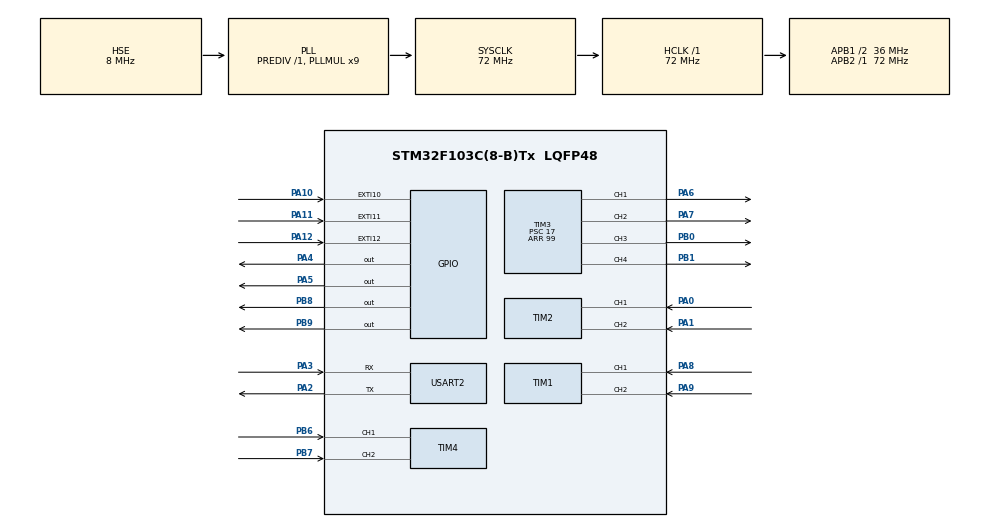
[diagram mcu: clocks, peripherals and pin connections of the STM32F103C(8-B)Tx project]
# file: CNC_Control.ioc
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Mcu.Family=STM32F1
Mcu.Name=STM32F103C(8-B)Tx
Mcu.Package=LQFP48
NVIC.EXTI15_10_IRQn=true\:0\:0\:false\:false\:true\:true\:true
NVIC.PriorityGroup=NVIC_PRIORITYGROUP_4
NVIC.USART2_IRQn=true\:0\:0\:false\:false\:true\:true\:true
PA0-WKUP.Signal=S_TIM2_CH1_ETR
PA1.Signal=S_TIM2_CH2
PA10.GPIO_ModeDefaultEXTI=GPIO_MODE_IT_FALLING
PA10.Signal=GPXTI10
PA11.GPIO_ModeDefaultEXTI=GPIO_MODE_IT_FALLING
PA11.Signal=GPXTI11
PA12.GPIO_ModeDefaultEXTI=GPIO_MODE_IT_FALLING
PA12.Signal=GPXTI12
PA13.Mode=Serial_Wire
PA13.Signal=SYS_JTMS-SWDIO
PA14.Mode=Serial_Wire
PA14.Signal=SYS_JTCK-SWCLK
PA2.Mode=Asynchronous
PA2.Signal=USART2_TX
PA3.Mode=Asynchronous
PA3.Signal=USART2_RX
PA4.Signal=GPIO_Output
PA5.Signal=GPIO_Output
PA6.Signal=S_TIM3_CH1
PA7.Signal=S_TIM3_CH2
PA8.Signal=S_TIM1_CH1
PA9.Signal=S_TIM1_CH2
PB0.Signal=S_TIM3_CH3
PB1.Signal=S_TIM3_CH4
PB6.Signal=S_TIM4_CH1
PB7.Signal=S_TIM4_CH2
PB8.Signal=GPIO_Output
PB9.Signal=GPIO_Output
PD0-OSC_IN.Mode=HSE-External-Oscillator
PD0-OSC_IN.Signal=RCC_OSC_IN
PD1-OSC_OUT.Mode=HSE-External-Oscillator
PD1-OSC_OUT.Signal=RCC_OSC_OUT
ProjectManager.HeapSize=0x200
ProjectManager.StackSize=0x400
ProjectManager.TargetToolchain=Makefile
RCC.AHBFreq_Value=72000000
RCC.APB1CLKDivider=RCC_HCLK_DIV2
RCC.APB1Freq_Value=36000000
RCC.APB1TimFreq_Value=72000000
RCC.APB2Freq_Value=72000000
RCC.APB2TimFreq_Value=72000000
RCC.HCLKFreq_Value=72000000
RCC.PLLMUL=RCC_PLL_MUL9
RCC.PLLSourceVirtual=RCC_PLLSOURCE_HSE
RCC.SYSCLKFreq_VALUE=72000000
RCC.SYSCLKSource=RCC_SYSCLKSOURCE_PLLCLK
RCC.USBFreq_Value=72000000
SH.S_TIM1_CH1.0=TIM1_CH1,Encoder_Interface
SH.S_TIM1_CH2.0=TIM1_CH2,Encoder_Interface
SH.S_TIM2_CH1_ETR.0=TIM2_CH1,Encoder_Interface
SH.S_TIM2_CH2.0=TIM2_CH2,Encoder_Interface
SH.S_TIM3_CH1.0=TIM3_CH1,PWM Generation1 CH1
SH.S_TIM3_CH2.0=TIM3_CH2,PWM Generation2 CH2
SH.S_TIM3_CH3.0=TIM3_CH3,PWM Generation3 CH3
SH.S_TIM3_CH4.0=TIM3_CH4,PWM Generation4 CH4
SH.S_TIM4_CH1.0=TIM4_CH1,Encoder_Interface
SH.S_TIM4_CH2.0=TIM4_CH2,Encoder_Interface
TIM1.EncoderMode=TIM_ENCODERMODE_TI12
TIM2.EncoderMode=TIM_ENCODERMODE_TI12
TIM3.Channel-PWM\ Generation1\ CH1=TIM_CHANNEL_1
TIM3.Channel-PWM\ Generation2\ CH2=TIM_CHANNEL_2
TIM3.Channel-PWM\ Generation3\ CH3=TIM_CHANNEL_3
TIM3.Channel-PWM\ Generation4\ CH4=TIM_CHANNEL_4
TIM3.Period=99
TIM3.Prescaler=17
TIM4.EncoderMode=TIM_ENCODERMODE_TI12
USART2.VirtualMode=VM_ASYNC
VP_TIM3_VS_ClockSourceINT.Mode=Internal
board=custom

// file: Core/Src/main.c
/* USER CODE BEGIN Header */
/**
  ******************************************************************************
  * @file           : main.c
  * @brief          : Main program body
  ******************************************************************************
  * @attention
  *
  * Copyright (c) 2023 STMicroelectronics.
  * All rights reserved.
  *
  * This software is licensed under terms that can be found in the LICENSE file
  * in the root directory of this software component.
  * If no LICENSE file comes with this software, it is provided AS-IS.
  *
  ******************************************************************************
  */
/* USER CODE END Header */
#include "main.h"

/* USER CODE BEGIN Includes */
#include "MotorControl.h"
/* USER CODE END Includes */

TIM_HandleTypeDef htim1;
TIM_HandleTypeDef htim2;
TIM_HandleTypeDef htim3;
TIM_HandleTypeDef htim4;

UART_HandleTypeDef huart2;

/* USER CODE BEGIN PV */

CNC cnc;

/* USER CODE END PV */

void SystemClock_Config(void);
static void MX_GPIO_Init(void);
static void MX_TIM1_Init(void);
static void MX_TIM2_Init(void);
static void MX_TIM3_Init(void);
static void MX_TIM4_Init(void);
static void MX_USART2_UART_Init(void);

/* USER CODE BEGIN 0 */
void uart_clear_receive_buffer_and_start_receive_IT()
{
    // Đọc dữ liệu trong bộ nhận cho đến khi không còn dữ liệu trong buffer
    while (__HAL_UART_GET_FLAG(&huart2, UART_FLAG_RXNE)) {
        char dummy_data = huart2.Instance->DR; // Đọc dữ liệu từ thanh ghi RDR để xóa dữ liệu trong bộ nhận
    }
    cnc.data.index = 0;
    HAL_UART_Receive_IT(&huart2, &cnc.data.Receive, 1);
}

void HAL_GPIO_EXTI_Callback(uint16_t GPIO_Pin)
{
  UNUSED(GPIO_Pin);
	// X Home
	if( GPIO_Pin == cnc.x_axis.PIN_HOME)
	{
		cnc.x_axis.pwm = 0;
		PWM(&cnc.x_axis);
		cnc.x_axis.home = true;
	}
	// Y Home
	if( GPIO_Pin == cnc.y_axis.PIN_HOME)
	{
		cnc.y_axis.pwm = 0;
		PWM(&cnc.y_axis);
		cnc.y_axis.home = true;
	}
	// Z Home
	if( GPIO_Pin == cnc.z_axis.PIN_HOME)
	{
		cnc.z_axis.pwm = 0;
		PWM(&cnc.z_axis);
		cnc.z_axis.home = true;
	}
}

void HAL_UART_RxCpltCallback(UART_HandleTypeDef *huart)
{
  UNUSED(huart);
	if(huart->Instance == huart2.Instance)
	{
		if((cnc.data.Receive != '!') && (cnc.data.Receive != 0)) //line feed Ascii
		{
			cnc.data.ReceiveBuff[cnc.data.index++] = cnc.data.Receive; //Save data in Rxbuff
		}
		else if (cnc.data.Receive == '!')
		{
			cnc.data.index = 0;
			//ProcessData(&cnc);
      cnc.Mode = 6; //process data
      //return;
		}
		HAL_UART_Receive_IT(&huart2, &cnc.data.Receive, 1);
	}
}

void axisInit()
{
	cnc.x_axis.htim_motor = &htim3;
	cnc.y_axis.htim_motor = &htim3;
	cnc.z_axis.htim_motor = &htim3;
  cnc.drill.htim_motor = &htim3;

	// cnc.x_axis.htim_enc = &htim4;
	// cnc.y_axis.htim_enc = &htim2;
	// cnc.z_axis.htim_enc = &htim1;

  cnc.x_axis.enc = &htim4.Instance->CNT;
  cnc.y_axis.enc = &htim2.Instance->CNT;
  cnc.z_axis.enc = &htim1.Instance->CNT;

	cnc.x_axis.GPIO_DIR = GPIOB;
	cnc.y_axis.GPIO_DIR = GPIOB;
	cnc.z_axis.GPIO_DIR = GPIOA;
  cnc.drill.GPIO_DIR = GPIOA;

	cnc.x_axis.PIN_DIR = GPIO_PIN_8;
	cnc.y_axis.PIN_DIR = GPIO_PIN_9;
	cnc.z_axis.PIN_DIR = GPIO_PIN_5;
  cnc.drill.PIN_DIR = GPIO_PIN_4;

	cnc.x_axis.CHANNEL = TIM_CHANNEL_3;
	cnc.y_axis.CHANNEL = TIM_CHANNEL_4;
	cnc.z_axis.CHANNEL = TIM_CHANNEL_2;
  cnc.drill.CHANNEL = TIM_CHANNEL_1;

	cnc.x_axis.GPIO_HOME = GPIOA;
	cnc.y_axis.GPIO_HOME = GPIOA;
	cnc.z_axis.GPIO_HOME = GPIOA;

	cnc.x_axis.PIN_HOME = GPIO_PIN_12;
	cnc.y_axis.PIN_HOME = GPIO_PIN_11;
	cnc.z_axis.PIN_HOME = GPIO_PIN_10;

	cnc.x_axis.Kp = 5;
	cnc.y_axis.Kp = 10;
	cnc.z_axis.Kp = 5;

	cnc.x_axis.Ki = 0.0001;
	cnc.y_axis.Ki = 0.0001;
	cnc.z_axis.Ki = 0.0001;

	cnc.x_axis.Kd = 0.2;
	cnc.y_axis.Kd = 0.3;
	cnc.z_axis.Kd = 0.1;

	cnc.x_axis.mm_pulse = 249.8886;//142.8571;
	cnc.y_axis.mm_pulse = 495.1475;//333.3333;
	cnc.z_axis.mm_pulse = 500;

  cnc.x_axis.ERROR = 2;
  cnc.y_axis.ERROR = 2;
  cnc.z_axis.ERROR = 1;

  cnc.x_axis.speed = 35;
  cnc.y_axis.speed = 40;
  cnc.z_axis.speed = 40;

  cnc.z_max = Z_MAX;
  cnc.step = STEP;
  cnc.thickness = 1;
  cnc.speed = MAX_SPEED;
}
/* USER CODE END 0 */

int main(void)
{

  /* MCU Configuration--------------------------------------------------------*/

  /* Reset of all peripherals, Initializes the Flash interface and the Systick. */
  HAL_Init();

  /* Configure the system clock */
  SystemClock_Config();

  /* Initialize all configured peripherals */
  MX_GPIO_Init();
  MX_TIM1_Init();
  MX_TIM2_Init();
  MX_TIM3_Init();
  MX_TIM4_Init();
  MX_USART2_UART_Init();
  /* USER CODE BEGIN 2 */
  HAL_UART_Receive_IT(&huart2, &cnc.data.Receive, 1);

  // Init axis
	axisInit();

  // Start PWM
	HAL_TIM_PWM_Start(&htim3, TIM_CHANNEL_1);
  HAL_TIM_PWM_Start(&htim3, TIM_CHANNEL_2);
  HAL_TIM_PWM_Start(&htim3, TIM_CHANNEL_3);
  HAL_TIM_PWM_Start(&htim3, TIM_CHANNEL_4);

	// Start Encoder
	HAL_TIM_Encoder_Start(&htim1, TIM_CHANNEL_1 | TIM_CHANNEL_2);
	HAL_TIM_Encoder_Start(&htim2, TIM_CHANNEL_1 | TIM_CHANNEL_2);
	HAL_TIM_Encoder_Start(&htim4, TIM_CHANNEL_1 | TIM_CHANNEL_2);

  /* USER CODE END 2 */

  /* Infinite loop */
  /* USER CODE BEGIN WHILE */
  while (1)
  {
    switch (cnc.Mode)
    {
    case 1: // mode Home

      // goto x home
			HOME(&cnc.x_axis);

			// goto y home
			HOME(&cnc.y_axis);

			// goto z home
			HOME(&cnc.z_axis);

      //test drill
      //runDrill(&cnc.drill, 70);

			if(cnc.x_axis.home && cnc.y_axis.home && cnc.z_axis.home)
			{
			  // cnc.x_axis.htim_enc->Instance->CNT = 0;
				// cnc.y_axis.htim_enc->Instance->CNT = 0;
				// cnc.z_axis.htim_enc->Instance->CNT = 0;

        *cnc.x_axis.enc = 0;
        *cnc.y_axis.enc = 0;
        *cnc.z_axis.enc = 0;

				cnc.x_axis.pos = 0;
				cnc.y_axis.pos = 0;
				cnc.z_axis.pos = 0;

			  cnc.Mode = 2; // to protect switch, goto home 1cm mode
			}

      break;

    case 2: // mode Home 1cm
      move(&cnc.x_axis, 10);
			move(&cnc.y_axis, 10);
			move(&cnc.z_axis, 10);
			if( cnc.x_axis.finish && cnc.y_axis.finish && cnc.z_axis.finish)
			{
				cnc.x_axis.finish = false;
				cnc.y_axis.finish = false;
				cnc.z_axis.finish = false;

				// cnc.x_axis.htim_enc->Instance->CNT = 0;
				// cnc.y_axis.htim_enc->Instance->CNT = 0;
				// cnc.z_axis.htim_enc->Instance->CNT = 0;

        *cnc.x_axis.enc = 0;
        *cnc.y_axis.enc = 0;
        *cnc.z_axis.enc = 0;

				cnc.x_axis.pos = 0;
				cnc.y_axis.pos = 0;
				cnc.z_axis.pos = 0;
        memset(cnc.data.TransBuff, 0, sizeof(cnc.data.TransBuff));
        sprintf(cnc.data.TransBuff, "H!");
        HAL_UART_Transmit(&huart2, cnc.data.TransBuff, 2, 100);
        cnc.data.index = 0;
				cnc.Mode = 0;
        //uart_clear_receive_buffer_and_start_receive_IT();
			}
      break;

    case 3:
      if(cnc.drill.enb)
      {
        runDrill(&cnc.drill, 100);
        while(!cnc.z_axis.finish)
				{
					move(&cnc.z_axis, cnc.z_axis.next);
				}
				cnc.z_axis.finish = false;
      }
      else
      {
        while(!cnc.z_axis.finish)
				{
					move(&cnc.z_axis, cnc.z_axis.next);
				}
				cnc.z_axis.finish = false;
        runDrill(&cnc.drill, 0);
      }
      cnc.Mode = 7;
      break;
    /*case 3: // check drill
      if(cnc.drill.status != cnc.drill.enb)
			{
				if(cnc.drill.enb){
          cnc.z_axis.next = cnc.z_max - cnc.thickness;
          runDrill(&cnc.drill, 90);
        }
				else
					cnc.z_axis.next = 0;
				while(!cnc.z_axis.finish)
				{
					move(&cnc.z_axis, cnc.z_axis.next);
				}
				cnc.z_axis.finish = false;
				cnc.drill.status = cnc.drill.enb;
			}
      if(cnc.drill.enb)
        cnc.Mode = 5; // mode G01
      else
      {
        cnc.Mode = 4; // mode G00
        runDrill(&cnc.drill, 0);
      }
      break;*/

    case 4: // mode G00
      while(!(cnc.x_axis.finish && cnc.y_axis.finish))
			{
				move(&cnc.x_axis, cnc.x_axis.next);
				move(&cnc.y_axis, cnc.y_axis.next);
			}
			cnc.x_axis.finish = false;
			cnc.y_axis.finish = false;
      cnc.x_axis.last = cnc.x_axis.pos / cnc.x_axis.mm_pulse;
      cnc.y_axis.last = cnc.y_axis.pos / cnc.y_axis.mm_pulse;
      // cnc.x_axis.last = cnc.x_axis.next;
      // cnc.y_axis.last = cnc.y_axis.next;
      // cnc.x_axis.feedback = cnc.y_axis.pos / cnc.x_axis.mm_pulse;
      // cnc.y_axis.feedback = cnc.y_axis.pos / cnc.y_axis.mm_pulse;
      cnc.Mode = 7; // mode send feedback
      break;

    case 5: // mode G01
      drawLine(&cnc.x_axis, &cnc.y_axis);
      // cnc.x_axis.feedback = cnc.y_axis.pos / cnc.x_axis.mm_pulse;
      // cnc.y_axis.feedback = cnc.y_axis.pos / cnc.y_axis.mm_pulse;
      cnc.Mode = 7; // mode send feedback
      break;

    case 6: // mode process data
      ProcessData(&cnc);
      break;

    case 7: // send feedback to main
      memset(cnc.data.TransBuff, 0, sizeof(cnc.data.TransBuff));
      sprintf(cnc.data.TransBuff, "G0%uX%0.2fY%0.2f!", cnc.drill.enb, cnc.x_axis.last, cnc.y_axis.last);
      HAL_Delay(300);
      HAL_UART_Transmit(&huart2, cnc.data.TransBuff, sizeof(cnc.data.TransBuff), 100);
      cnc.Mode = 0;
      break;
    case 8: // send respond for setting
      memset(cnc.data.TransBuff, 0, sizeof(cnc.data.TransBuff));
      sprintf(cnc.data.TransBuff, "S!");
      HAL_Delay(120);
      HAL_UART_Transmit(&huart2, cnc.data.TransBuff, 2, 100);
      cnc.Mode = 0;
      break;
    case 9: // stop
      while(!cnc.z_axis.finish)
      {
        move(&cnc.z_axis, 0);
      }
      cnc.z_axis.finish = false;
      runDrill(&cnc.drill, 0);
      cnc.Mode = 0; // mode home
      break;
    case 10: // z edit
      while(!cnc.z_axis.finish)
      {
        move(&cnc.z_axis, cnc.z_axis.next);
      }
      cnc.z_axis.finish = false;
      memset(cnc.data.TransBuff, 0, sizeof(cnc.data.TransBuff));
      sprintf(cnc.data.TransBuff, "Z!");
      HAL_Delay(120);
      HAL_UART_Transmit(&huart2, cnc.data.TransBuff, 2, 100);
      cnc.Mode = 0;
      break;
    default:
      break;
    }
    /* USER CODE END WHILE */

  }
}

void SystemClock_Config(void)
{
  RCC_OscInitTypeDef RCC_OscInitStruct = {0};
  RCC_ClkInitTypeDef RCC_ClkInitStruct = {0};

  /** Initializes the RCC Oscillators according to the specified parameters
  * in the RCC_OscInitTypeDef structure.
  */
  RCC_OscInitStruct.OscillatorType = RCC_OSCILLATORTYPE_HSE;
  RCC_OscInitStruct.HSEState = RCC_HSE_ON;
  RCC_OscInitStruct.HSEPredivValue = RCC_HSE_PREDIV_DIV1;
  RCC_OscInitStruct.HSIState = RCC_HSI_ON;
  RCC_OscInitStruct.PLL.PLLState = RCC_PLL_ON;
  RCC_OscInitStruct.PLL.PLLSource = RCC_PLLSOURCE_HSE;
  RCC_OscInitStruct.PLL.PLLMUL = RCC_PLL_MUL9;
  if (HAL_RCC_OscConfig(&RCC_OscInitStruct) != HAL_OK)
  {
    Error_Handler();
  }
  /** Initializes the CPU, AHB and APB buses clocks
  */
  RCC_ClkInitStruct.ClockType = RCC_CLOCKTYPE_HCLK|RCC_CLOCKTYPE_SYSCLK
                              |RCC_CLOCKTYPE_PCLK1|RCC_CLOCKTYPE_PCLK2;
  RCC_ClkInitStruct.SYSCLKSource = RCC_SYSCLKSOURCE_PLLCLK;
  RCC_ClkInitStruct.AHBCLKDivider = RCC_SYSCLK_DIV1;
  RCC_ClkInitStruct.APB1CLKDivider = RCC_HCLK_DIV2;
  RCC_ClkInitStruct.APB2CLKDivider = RCC_HCLK_DIV1;

  if (HAL_RCC_ClockConfig(&RCC_ClkInitStruct, FLASH_LATENCY_2) != HAL_OK)
  {
    Error_Handler();
  }
}

static void MX_TIM1_Init(void)
{

  TIM_Encoder_InitTypeDef sConfig = {0};
  TIM_MasterConfigTypeDef sMasterConfig = {0};

  htim1.Instance = TIM1;
  htim1.Init.Prescaler = 0;
  htim1.Init.CounterMode = TIM_COUNTERMODE_UP;
  htim1.Init.Period = 65535;
  htim1.Init.ClockDivision = TIM_CLOCKDIVISION_DIV1;
  htim1.Init.RepetitionCounter = 0;
  htim1.Init.AutoReloadPreload = TIM_AUTORELOAD_PRELOAD_DISABLE;
  sConfig.EncoderMode = TIM_ENCODERMODE_TI12;
  sConfig.IC1Polarity = TIM_ICPOLARITY_RISING;
  sConfig.IC1Selection = TIM_ICSELECTION_DIRECTTI;
  sConfig.IC1Prescaler = TIM_ICPSC_DIV1;
  sConfig.IC1Filter = 0;
  sConfig.IC2Polarity = TIM_ICPOLARITY_RISING;
  sConfig.IC2Selection = TIM_ICSELECTION_DIRECTTI;
  sConfig.IC2Prescaler = TIM_ICPSC_DIV1;
  sConfig.IC2Filter = 0;
  if (HAL_TIM_Encoder_Init(&htim1, &sConfig) != HAL_OK)
  {
    Error_Handler();
  }
  sMasterConfig.MasterOutputTrigger = TIM_TRGO_RESET;
  sMasterConfig.MasterSlaveMode = TIM_MASTERSLAVEMODE_DISABLE;
  if (HAL_TIMEx_MasterConfigSynchronization(&htim1, &sMasterConfig) != HAL_OK)
  {
    Error_Handler();
  }

}

static void MX_TIM2_Init(void)
{

  TIM_Encoder_InitTypeDef sConfig = {0};
  TIM_MasterConfigTypeDef sMasterConfig = {0};

  htim2.Instance = TIM2;
  htim2.Init.Prescaler = 0;
  htim2.Init.CounterMode = TIM_COUNTERMODE_UP;
  htim2.Init.Period = 65535;
  htim2.Init.ClockDivision = TIM_CLOCKDIVISION_DIV1;
  htim2.Init.AutoReloadPreload = TIM_AUTORELOAD_PRELOAD_DISABLE;
  sConfig.EncoderMode = TIM_ENCODERMODE_TI12;
  sConfig.IC1Polarity = TIM_ICPOLARITY_RISING;
  sConfig.IC1Selection = TIM_ICSELECTION_DIRECTTI;
  sConfig.IC1Prescaler = TIM_ICPSC_DIV1;
  sConfig.IC1Filter = 0;
  sConfig.IC2Polarity = TIM_ICPOLARITY_RISING;
  sConfig.IC2Selection = TIM_ICSELECTION_DIRECTTI;
  sConfig.IC2Prescaler = TIM_ICPSC_DIV1;
  sConfig.IC2Filter = 0;
  if (HAL_TIM_Encoder_Init(&htim2, &sConfig) != HAL_OK)
  {
    Error_Handler();
  }
  sMasterConfig.MasterOutputTrigger = TIM_TRGO_RESET;
  sMasterConfig.MasterSlaveMode = TIM_MASTERSLAVEMODE_DISABLE;
  if (HAL_TIMEx_MasterConfigSynchronization(&htim2, &sMasterConfig) != HAL_OK)
  {
    Error_Handler();
  }

}

static void MX_TIM3_Init(void)
{

  TIM_ClockConfigTypeDef sClockSourceConfig = {0};
  TIM_MasterConfigTypeDef sMasterConfig = {0};
  TIM_OC_InitTypeDef sConfigOC = {0};

  htim3.Instance = TIM3;
  htim3.Init.Prescaler = 29;
  htim3.Init.CounterMode = TIM_COUNTERMODE_UP;
  htim3.Init.Period = 99;
  htim3.Init.ClockDivision = TIM_CLOCKDIVISION_DIV1;
  htim3.Init.AutoReloadPreload = TIM_AUTORELOAD_PRELOAD_DISABLE;
  if (HAL_TIM_Base_Init(&htim3) != HAL_OK)
  {
    Error_Handler();
  }
  sClockSourceConfig.ClockSource = TIM_CLOCKSOURCE_INTERNAL;
  if (HAL_TIM_ConfigClockSource(&htim3, &sClockSourceConfig) != HAL_OK)
  {
    Error_Handler();
  }
  if (HAL_TIM_PWM_Init(&htim3) != HAL_OK)
  {
    Error_Handler();
  }
  sMasterConfig.MasterOutputTrigger = TIM_TRGO_RESET;
  sMasterConfig.MasterSlaveMode = TIM_MASTERSLAVEMODE_DISABLE;
  if (HAL_TIMEx_MasterConfigSynchronization(&htim3, &sMasterConfig) != HAL_OK)
  {
    Error_Handler();
  }
  sConfigOC.OCMode = TIM_OCMODE_PWM1;
  sConfigOC.Pulse = 0;
  sConfigOC.OCPolarity = TIM_OCPOLARITY_HIGH;
  sConfigOC.OCFastMode = TIM_OCFAST_DISABLE;
  if (HAL_TIM_PWM_ConfigChannel(&htim3, &sConfigOC, TIM_CHANNEL_1) != HAL_OK)
  {
    Error_Handler();
  }
  if (HAL_TIM_PWM_ConfigChannel(&htim3, &sConfigOC, TIM_CHANNEL_2) != HAL_OK)
  {
    Error_Handler();
  }
  if (HAL_TIM_PWM_ConfigChannel(&htim3, &sConfigOC, TIM_CHANNEL_3) != HAL_OK)
  {
    Error_Handler();
  }
  if (HAL_TIM_PWM_ConfigChannel(&htim3, &sConfigOC, TIM_CHANNEL_4) != HAL_OK)
  {
    Error_Handler();
  }
  HAL_TIM_MspPostInit(&htim3);

}

static void MX_TIM4_Init(void)
{

  TIM_Encoder_InitTypeDef sConfig = {0};
  TIM_MasterConfigTypeDef sMasterConfig = {0};

  htim4.Instance = TIM4;
  htim4.Init.Prescaler = 0;
  htim4.Init.CounterMode = TIM_COUNTERMODE_UP;
  htim4.Init.Period = 65535;
  htim4.Init.ClockDivision = TIM_CLOCKDIVISION_DIV1;
  htim4.Init.AutoReloadPreload = TIM_AUTORELOAD_PRELOAD_DISABLE;
  sConfig.EncoderMode = TIM_ENCODERMODE_TI12;
  sConfig.IC1Polarity = TIM_ICPOLARITY_RISING;
  sConfig.IC1Selection = TIM_ICSELECTION_DIRECTTI;
  sConfig.IC1Prescaler = TIM_ICPSC_DIV1;
  sConfig.IC1Filter = 0;
  sConfig.IC2Polarity = TIM_ICPOLARITY_RISING;
  sConfig.IC2Selection = TIM_ICSELECTION_DIRECTTI;
  sConfig.IC2Prescaler = TIM_ICPSC_DIV1;
  sConfig.IC2Filter = 0;
  if (HAL_TIM_Encoder_Init(&htim4, &sConfig) != HAL_OK)
  {
    Error_Handler();
  }
  sMasterConfig.MasterOutputTrigger = TIM_TRGO_RESET;
  sMasterConfig.MasterSlaveMode = TIM_MASTERSLAVEMODE_DISABLE;
  if (HAL_TIMEx_MasterConfigSynchronization(&htim4, &sMasterConfig) != HAL_OK)
  {
    Error_Handler();
  }

}

static void MX_USART2_UART_Init(void)
{

  huart2.Instance = USART2;
  huart2.Init.BaudRate = 115200;
  huart2.Init.WordLength = UART_WORDLENGTH_8B;
  huart2.Init.StopBits = UART_STOPBITS_1;
  huart2.Init.Parity = UART_PARITY_NONE;
  huart2.Init.Mode = UART_MODE_TX_RX;
  huart2.Init.HwFlowCtl = UART_HWCONTROL_NONE;
  huart2.Init.OverSampling = UART_OVERSAMPLING_16;
  if (HAL_UART_Init(&huart2) != HAL_OK)
  {
    Error_Handler();
  }

}

static void MX_GPIO_Init(void)
{
  GPIO_InitTypeDef GPIO_InitStruct = {0};

  /* GPIO Ports Clock Enable */
  __HAL_RCC_GPIOD_CLK_ENABLE();
  __HAL_RCC_GPIOA_CLK_ENABLE();
  __HAL_RCC_GPIOB_CLK_ENABLE();

  /*Configure GPIO pin Output Level */
  HAL_GPIO_WritePin(GPIOA, GPIO_PIN_4|GPIO_PIN_5, GPIO_PIN_RESET);

  /*Configure GPIO pin Output Level */
  HAL_GPIO_WritePin(GPIOB, GPIO_PIN_8|GPIO_PIN_9, GPIO_PIN_RESET);

  /*Configure GPIO pins : PA4 PA5 */
  GPIO_InitStruct.Pin = GPIO_PIN_4|GPIO_PIN_5;
  GPIO_InitStruct.Mode = GPIO_MODE_OUTPUT_PP;
  GPIO_InitStruct.Pull = GPIO_NOPULL;
  GPIO_InitStruct.Speed = GPIO_SPEED_FREQ_LOW;
  HAL_GPIO_Init(GPIOA, &GPIO_InitStruct);

  /*Configure GPIO pins : PA10 PA11 PA12 */
  GPIO_InitStruct.Pin = GPIO_PIN_10|GPIO_PIN_11|GPIO_PIN_12;
  GPIO_InitStruct.Mode = GPIO_MODE_IT_FALLING;
  GPIO_InitStruct.Pull = GPIO_NOPULL;
  HAL_GPIO_Init(GPIOA, &GPIO_InitStruct);

  /*Configure GPIO pins : PB8 PB9 */
  GPIO_InitStruct.Pin = GPIO_PIN_8|GPIO_PIN_9;
  GPIO_InitStruct.Mode = GPIO_MODE_OUTPUT_PP;
  GPIO_InitStruct.Pull = GPIO_NOPULL;
  GPIO_InitStruct.Speed = GPIO_SPEED_FREQ_LOW;
  HAL_GPIO_Init(GPIOB, &GPIO_InitStruct);

  /* EXTI interrupt init*/
  HAL_NVIC_SetPriority(EXTI15_10_IRQn, 0, 0);
  HAL_NVIC_EnableIRQ(EXTI15_10_IRQn);

}

void Error_Handler(void)
{
  __disable_irq();
  while (1)
  {
  }
}
